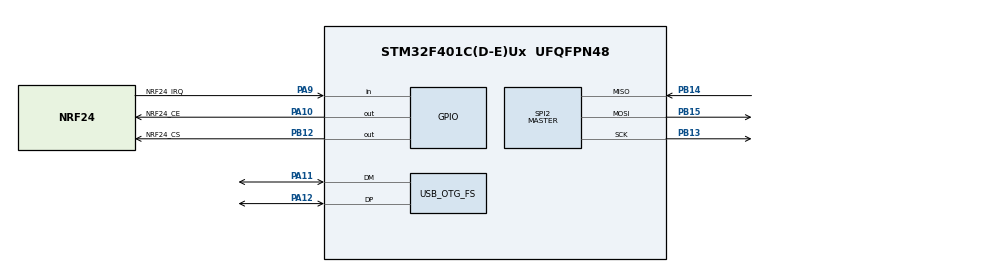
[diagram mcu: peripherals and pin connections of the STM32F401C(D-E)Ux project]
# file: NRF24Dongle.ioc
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FREERTOS.Tasks01=defaultTask,24,128,StartDefaultTask,Default,NULL,Dynamic,NULL,NULL
FREERTOS.configTOTAL_HEAP_SIZE=30720
FREERTOS.configUSE_NEWLIB_REENTRANT=1
Mcu.Family=STM32F4
Mcu.Name=STM32F401C(D-E)Ux
Mcu.Package=UFQFPN48
NVIC.OTG_FS_IRQn=true\:5\:0\:false\:false\:true\:true\:true\:true\:true
NVIC.PriorityGroup=NVIC_PRIORITYGROUP_4
NVIC.TIM1_TRG_COM_TIM11_IRQn=true\:15\:0\:false\:false\:true\:false\:false\:true\:true
NVIC.TimeBase=TIM1_TRG_COM_TIM11_IRQn
NVIC.TimeBaseIP=TIM11
PA10.GPIO_Label=NRF24_CE
PA10.GPIO_Speed=GPIO_SPEED_FREQ_VERY_HIGH
PA10.Signal=GPIO_Output
PA11.Mode=Device_Only
PA11.Signal=USB_OTG_FS_DM
PA12.Mode=Device_Only
PA12.Signal=USB_OTG_FS_DP
PA13.Mode=Serial_Wire
PA13.Signal=SYS_JTMS-SWDIO
PA14.Mode=Serial_Wire
PA14.Signal=SYS_JTCK-SWCLK
PA9.GPIO_Label=NRF24_IRQ
PA9.GPIO_PuPd=GPIO_PULLUP
PA9.Signal=GPIO_Input
PB12.GPIO_Label=NRF24_CS
PB12.GPIO_Speed=GPIO_SPEED_FREQ_VERY_HIGH
PB12.PinState=GPIO_PIN_SET
PB12.Signal=GPIO_Output
PB13.Mode=Full_Duplex_Master
PB13.Signal=SPI2_SCK
PB14.Mode=Full_Duplex_Master
PB14.Signal=SPI2_MISO
PB15.Mode=Full_Duplex_Master
PB15.Signal=SPI2_MOSI
PH0\ -\ OSC_IN.Mode=HSE-External-Oscillator
PH0\ -\ OSC_IN.Signal=RCC_OSC_IN
PH1\ -\ OSC_OUT.Mode=HSE-External-Oscillator
PH1\ -\ OSC_OUT.Signal=RCC_OSC_OUT
ProjectManager.HeapSize=0x200
ProjectManager.StackSize=0x1000
ProjectManager.TargetToolchain=STM32CubeIDE
RCC.48MHZClocksFreq_Value=48000000
RCC.AHBFreq_Value=84000000
RCC.APB1CLKDivider=RCC_HCLK_DIV2
RCC.APB1Freq_Value=42000000
RCC.APB1TimFreq_Value=84000000
RCC.APB2Freq_Value=84000000
RCC.APB2TimFreq_Value=84000000
RCC.CortexFreq_Value=84000000
RCC.HCLKFreq_Value=84000000
RCC.HSE_VALUE=25000000
RCC.HSI_VALUE=16000000
RCC.LSE_VALUE=32768
RCC.PLLM=25
RCC.PLLN=336
RCC.PLLP=RCC_PLLP_DIV4
RCC.PLLQ=7
RCC.SYSCLKFreq_VALUE=84000000
RCC.SYSCLKSource=RCC_SYSCLKSOURCE_PLLCLK
RCC.VCOOutputFreq_Value=336000000
SPI2.BaudRatePrescaler=SPI_BAUDRATEPRESCALER_8
SPI2.CLKPhase=SPI_PHASE_2EDGE
SPI2.CLKPolarity=SPI_POLARITY_HIGH
SPI2.Direction=SPI_DIRECTION_2LINES
SPI2.Mode=SPI_MODE_MASTER
SPI2.VirtualType=VM_MASTER
USB_OTG_FS.VirtualMode=Device_Only
VP_FREERTOS_VS_CMSIS_V2.Mode=CMSIS_V2
VP_SYS_VS_tim11.Mode=TIM11
board=custom

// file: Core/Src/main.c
/* USER CODE BEGIN Header */

/* USER CODE END Header */
#include "main.h"
#include "cmsis_os.h"
#include "spi.h"
#include "usb_otg.h"
#include "gpio.h"

void SystemClock_Config(void);
void MX_FREERTOS_Init(void);

int main(void)
{

  /* MCU Configuration--------------------------------------------------------*/

  /* Reset of all peripherals, Initializes the Flash interface and the Systick. */
  HAL_Init();

  /* Configure the system clock */
  SystemClock_Config();

  /* USER CODE BEGIN SysInit */
#if 0
  /* USER CODE END SysInit */

  /* Initialize all configured peripherals */
  MX_GPIO_Init();
  MX_USB_OTG_FS_PCD_Init();
  MX_SPI2_Init();
  /* USER CODE BEGIN 2 */
#endif
    MX_GPIO_Init();
   // MX_USB_OTG_FS_PCD_Init();
    MX_SPI2_Init();

    // init cherryusb
    daplink_init();

  /* USER CODE END 2 */

  /* Init scheduler */
  osKernelInitialize();  /* Call init function for freertos objects (in freertos.c) */
  MX_FREERTOS_Init();

  /* Start scheduler */
  osKernelStart();

  /* We should never get here as control is now taken by the scheduler */
  /* Infinite loop */
  while (1)
  {

  }
}

void SystemClock_Config(void)
{
  LL_FLASH_SetLatency(LL_FLASH_LATENCY_2);
  while(LL_FLASH_GetLatency()!= LL_FLASH_LATENCY_2)
  {
  }
  LL_PWR_SetRegulVoltageScaling(LL_PWR_REGU_VOLTAGE_SCALE2);
  LL_RCC_HSE_Enable();

   /* Wait till HSE is ready */
  while(LL_RCC_HSE_IsReady() != 1)
  {

  }
  LL_RCC_PLL_ConfigDomain_SYS(LL_RCC_PLLSOURCE_HSE, LL_RCC_PLLM_DIV_25, 336, LL_RCC_PLLP_DIV_4);
  LL_RCC_PLL_ConfigDomain_48M(LL_RCC_PLLSOURCE_HSE, LL_RCC_PLLM_DIV_25, 336, LL_RCC_PLLQ_DIV_7);
  LL_RCC_PLL_Enable();

   /* Wait till PLL is ready */
  while(LL_RCC_PLL_IsReady() != 1)
  {

  }
  LL_RCC_SetAHBPrescaler(LL_RCC_SYSCLK_DIV_1);
  LL_RCC_SetAPB1Prescaler(LL_RCC_APB1_DIV_2);
  LL_RCC_SetAPB2Prescaler(LL_RCC_APB2_DIV_1);
  LL_RCC_SetSysClkSource(LL_RCC_SYS_CLKSOURCE_PLL);

   /* Wait till System clock is ready */
  while(LL_RCC_GetSysClkSource() != LL_RCC_SYS_CLKSOURCE_STATUS_PLL)
  {

  }
  LL_SetSystemCoreClock(84000000);

   /* Update the time base */
  if (HAL_InitTick (TICK_INT_PRIORITY) != HAL_OK)
  {
    Error_Handler();
  }
  LL_RCC_SetTIMPrescaler(LL_RCC_TIM_PRESCALER_TWICE);
}

void HAL_TIM_PeriodElapsedCallback(TIM_HandleTypeDef *htim)
{
  if (htim->Instance == TIM11) {
    HAL_IncTick();
  }
}

void Error_Handler(void)
{
  __disable_irq();
  while (1)
  {
  }
}

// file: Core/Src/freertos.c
/* USER CODE BEGIN Header */
/**
  ******************************************************************************
  * File Name          : freertos.c
  * Description        : Code for freertos applications
  ******************************************************************************
  * @attention
  *
  * Copyright (c) 2022 STMicroelectronics.
  * All rights reserved.
  *
  * This software is licensed under terms that can be found in the LICENSE file
  * in the root directory of this software component.
  * If no LICENSE file comes with this software, it is provided AS-IS.
  *
  ******************************************************************************
  */
/* USER CODE END Header */

#include "FreeRTOS.h"
#include "task.h"
#include "main.h"
#include "cmsis_os.h"

/* USER CODE BEGIN Includes */

#include "printf.h"
#include "drv_RF24L01.h"
/* USER CODE END Includes */

/* Definitions for defaultTask */
osThreadId_t defaultTaskHandle;
const osThreadAttr_t defaultTask_attributes = {
  .name = "defaultTask",
  .stack_size = 128 * 4,
  .priority = (osPriority_t) osPriorityNormal,
};

void StartDefaultTask(void *argument);

void MX_FREERTOS_Init(void); /* (MISRA C 2004 rule 8.1) */

void MX_FREERTOS_Init(void) {

  /* Create the thread(s) */
  /* creation of defaultTask */
  defaultTaskHandle = osThreadNew(StartDefaultTask, NULL, &defaultTask_attributes);

}

/* USER CODE BEGIN Header_StartDefaultTask */

const char *g_Ashining = "ashining";
uint8_t g_TxMode = 0, g_UartRxFlag = 0;
uint8_t g_UartRxBuffer[ 100 ] = { 0 };
uint8_t g_RF24L01RxBuffer[ 32 ] = { 0 };

uint8_t read_buf[5];

/* USER CODE END Header_StartDefaultTask */
void StartDefaultTask(void *argument)
{
  /* USER CODE BEGIN StartDefaultTask */
    //RF24L01引脚初始�?
    NRF24L01_Gpio_Init( );

    //�?测nRF24L01
    NRF24L01_check( );
    RF24L01_Init( );
    RF24L01_Set_Mode( MODE_TX );		//发�?�模�?
    for(;;)
  {NRF24L01_TxPacket( (uint8_t *)g_Ashining, 8 );		//模式1发�?�固定字�?,1S�?�?
    osDelay(1000);
  }
  /* USER CODE END StartDefaultTask */
}
